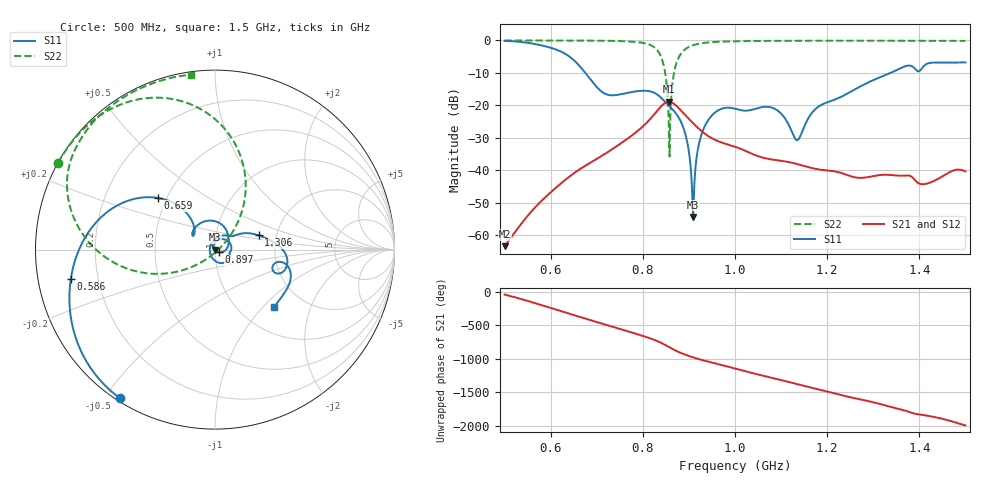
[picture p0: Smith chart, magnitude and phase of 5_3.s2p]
! TOUCHSTONE file generated by CST MICROWAVE STUDIO
! Date and time: Fri Oct  2 16:40:24 2020
! Project name: Scenario_1_Free_Space_out_of_line.cst
! Parameters = {Lambda=346.42; Step_1=17.321; dy1=278.276; dx1=520; L_HA=400; MT=2.54; Rad_Dielectric=30; Rad_Lower=7.3; Rad_Upper=30; a_HA=580; a_WG=246; b_HA=500; b_WG=121; c_HA=0; c_WG=187; d_feed=85; h_feed=15; h_lower=18; h_upper=40}
! Header version: 2018
! Port assignment regex: !\s*Touchstone port\s*([0-9]+)\s*=\s*(CST MWS port|CST DS port)\s*([0-9]+|Zmin|Zmax)\s*\(\"(.*)\"\)(\s*mode\s*([0-9]+))?.*
! Touchstone port assignment:
! Touchstone port 1 = CST MWS port 1 ("")
! Touchstone port 2 = CST MWS port 2 ("")
# GHz S DB R 50
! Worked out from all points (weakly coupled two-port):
!   1003 points, 500 MHz to 1.5 GHz, reference 50 ohm
!   highest |S21| = -18.90 dB at 856 MHz (marker M1); lowest = -63.4 dB at 500 MHz (marker M2)
!   lowest |S11| = -54.4 dB at 909 MHz (marker M3), VSWR 1.00, Z = 49.8 - j0.104 ohm
!   |S11| at or under -10 dB: 675.2 MHz to 1.338 GHz (662.4 MHz wide, 65.8 % of centre)
!   |S22| runs from -35.7 to 0.0 dB; largest |S21 - S12| = 2.2e-05
!   S11 on the Smith chart (normalised r, x): 500 MHz: 0.01, -0.55; 586 MHz: 0.10, -0.10; 659 MHz: 0.45, +0.32; 897 MHz: 1.04, -0.03; 1.306 GHz: 1.61, +0.27; 1.5 GHz: 1.43, -1.16
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0.5  -0.15 -122.6  -63.35 -43.5  -63.35 -43.5  -0.01 151.1
0.586  -1.72 -168.4  -48.60 146.3  -48.60 146.3  -0.02 145.2
0.659  -7.31 138.0  -40.05 -8.1  -40.05 -8.1  -0.04 139.1
0.667  -8.58 133.4  -39.31 -25.1  -39.31 -25.1  -0.04 138.3
0.719  -16.48 139.2  -34.84 -131.7  -34.84 -131.7  -0.10 132.3
0.779  -15.80 137.7  -28.96 104.7  -28.96 104.7  -0.40 120.6
0.834  -16.96 72.7  -21.20 -25.7  -21.20 -25.7  -3.53 84.7
0.847  -18.72 53.1  -19.38 -69.5  -19.38 -69.5  -8.83 62.0
0.856  -20.02 40.5  -18.90 -103.5  -18.90 -103.5  -24.32 33.5
0.873  -22.68 13.1  -20.18 -164.9  -20.18 -164.9  -6.91 -164.3
0.897  -31.76 -36.7  -23.73 127.7  -23.73 127.7  -2.23 170.5
0.909  -54.40 -146.8  -25.49 100.0  -25.49 100.0  -1.47 163.3
0.922  -31.69 104.7  -27.24 73.1  -27.24 73.1  -1.00 157.6
0.937  -25.69 77.5  -28.96 45.1  -28.96 45.1  -0.68 152.5
1  -21.02 -3.1  -32.75 -66.3  -32.75 -66.3  -0.27 140.2
1.086  -21.04 -56.5  -36.78 146.1  -36.78 146.1  -0.13 130.9
1.135  -30.71 175.5  -38.07 60.1  -38.07 60.1  -0.11 126.8
1.167  -22.28 73.0  -39.29 6.2  -39.29 6.3  -0.09 124.2
1.306  -11.86 18.2  -41.62 140.4  -41.62 140.4  -0.09 113.6
1.334  -10.22 10.0  -41.39 89.1  -41.39 89.1  -0.09 111.5
1.409  -8.00 -11.3  -44.27 -39.9  -44.27 -39.9  -0.10 105.6
1.5  -6.76 -44.0  -40.32 164.9  -40.31 165.0  -0.14 97.9
